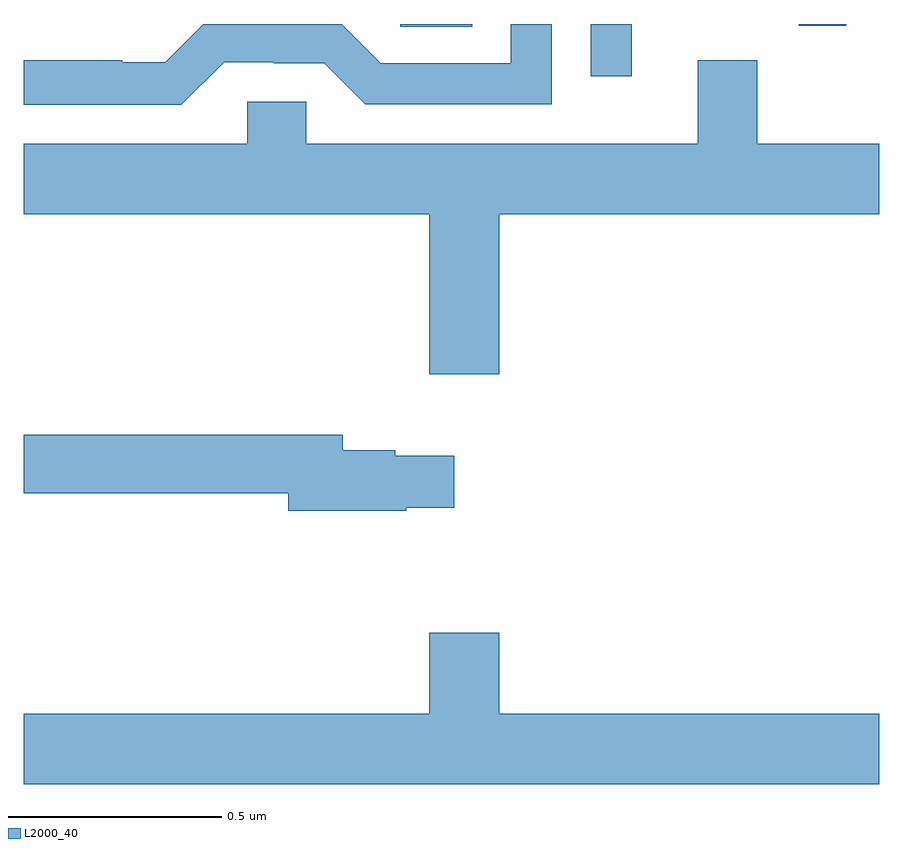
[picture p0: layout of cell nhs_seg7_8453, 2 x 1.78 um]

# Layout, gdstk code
import gdstk
lib = gdstk.Library(unit=1e-6, precision=1e-09)
def R(c, l, rs):  # rectangles x0, y0, x1, y1
    for r in rs: c.add(gdstk.rectangle(r[:2], r[2:], *l))
def P(c, l, *ps):  # polygons
    for p in ps: c.add(gdstk.Polygon(p, *l))
L2000_40 = (2000, 40)

nhs_seg7_8453 = lib.new_cell('nhs_seg7_8453')
R(nhs_seg7_8453, L2000_40, [(225.325,1060.878,225.421,1061), (224.88,1060.993,225.048,1061), (225.811,1060.996,225.923,1061)])
P(nhs_seg7_8453, L2000_40, [(224.469,1060.911),(224.585,1060.911),(224.585,1060.908),(224.703,1060.908),(224.799,1060.812),(225.234,1060.812),(225.234,1061),(225.138,1061),(225.138,1060.908),(224.835,1060.908),(224.743,1061),(224.42,1061),(224.331,1060.911),(224.231,1060.911),(224.231,1060.915),(224,1060.915),(224,1060.811),(224.369,1060.811)],
  [(225.112,1060.556),(226,1060.556),(226,1060.72),(225.715,1060.72),(225.715,1060.915),(225.575,1060.915),(225.575,1060.72),(224.661,1060.72),(224.661,1060.818),(224.523,1060.818),(224.523,1060.72),(224,1060.72),(224,1060.556),(224.948,1060.556),(224.948,1060.182),(225.112,1060.182)],
  [(224.894,1059.869),(225.007,1059.869),(225.007,1059.991),(224.868,1059.991),(224.868,1060.004),(224.746,1060.004),(224.746,1060.04),(224,1060.04),(224,1059.904),(224.618,1059.904),(224.618,1059.862),(224.894,1059.862)],
  [(226,1059.388),(225.112,1059.388),(225.112,1059.577),(224.948,1059.577),(224.948,1059.388),(224,1059.388),(224,1059.224),(226,1059.224)])

lib.write_gds('nhs_seg7_8453.gds')
